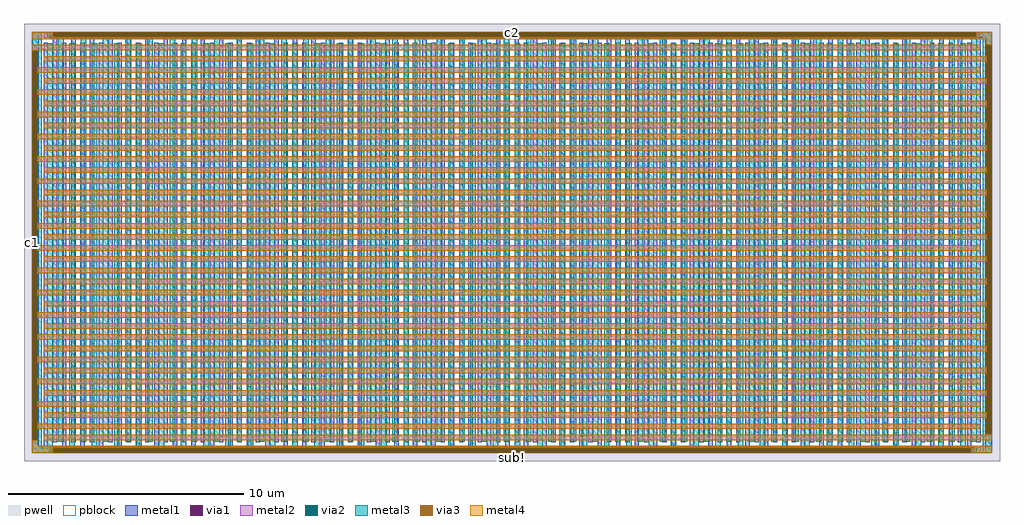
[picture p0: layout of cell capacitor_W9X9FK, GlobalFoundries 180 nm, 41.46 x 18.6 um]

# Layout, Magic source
magic
tech gf180mcuD
magscale 3 26
<< pwell >>
rect -62 3100 7125 3162
rect -62 0 0 3100
rect 7063 0 7125 3100
rect -62 -62 7125 0
<< pblock >>
rect 0 0 7063 3100
<< metal1 >>
rect 0 2965 46 3100
rect 82 3099 7063 3100
rect 82 3059 128 3099
rect 6976 3059 7063 3099
rect 82 3058 7063 3059
rect 0 95 1 2965
rect 41 95 46 2965
rect 0 42 46 95
rect 82 42 114 3022
rect 150 78 182 3058
rect 218 42 250 3022
rect 286 78 318 3058
rect 354 42 386 3022
rect 422 78 454 3058
rect 490 42 522 3022
rect 558 78 590 3058
rect 626 42 658 3022
rect 694 78 726 3058
rect 762 42 794 3022
rect 830 78 862 3058
rect 898 42 930 3022
rect 966 78 998 3058
rect 1034 42 1066 3022
rect 1102 78 1134 3058
rect 1170 42 1202 3022
rect 1238 78 1270 3058
rect 1306 42 1338 3022
rect 1374 78 1406 3058
rect 1442 42 1474 3022
rect 1510 78 1542 3058
rect 1578 42 1610 3022
rect 1646 78 1678 3058
rect 1714 42 1746 3022
rect 1782 78 1814 3058
rect 1850 42 1882 3022
rect 1918 78 1950 3058
rect 1986 42 2018 3022
rect 2054 78 2086 3058
rect 2122 42 2154 3022
rect 2190 78 2222 3058
rect 2258 42 2290 3022
rect 2326 78 2358 3058
rect 2394 42 2426 3022
rect 2462 78 2494 3058
rect 2530 42 2562 3022
rect 2598 78 2630 3058
rect 2666 42 2698 3022
rect 2734 78 2766 3058
rect 2802 42 2834 3022
rect 2870 78 2902 3058
rect 2938 42 2970 3022
rect 3006 78 3038 3058
rect 3074 42 3106 3022
rect 3142 78 3174 3058
rect 3210 42 3242 3022
rect 3278 78 3310 3058
rect 3346 42 3378 3022
rect 3414 78 3446 3058
rect 3482 42 3514 3022
rect 3550 78 3582 3058
rect 3618 42 3650 3022
rect 3686 78 3718 3058
rect 3754 42 3786 3022
rect 3822 78 3854 3058
rect 3890 42 3922 3022
rect 3958 78 3990 3058
rect 4026 42 4058 3022
rect 4094 78 4126 3058
rect 4162 42 4194 3022
rect 4230 78 4262 3058
rect 4298 42 4330 3022
rect 4366 78 4398 3058
rect 4434 42 4466 3022
rect 4502 78 4534 3058
rect 4570 42 4602 3022
rect 4638 78 4670 3058
rect 4706 42 4738 3022
rect 4774 78 4806 3058
rect 4842 42 4874 3022
rect 4910 78 4942 3058
rect 4978 42 5010 3022
rect 5046 78 5078 3058
rect 5114 42 5146 3022
rect 5182 78 5214 3058
rect 5250 42 5282 3022
rect 5318 78 5350 3058
rect 5386 42 5418 3022
rect 5454 78 5486 3058
rect 5522 42 5554 3022
rect 5590 78 5622 3058
rect 5658 42 5690 3022
rect 5726 78 5758 3058
rect 5794 42 5826 3022
rect 5862 78 5894 3058
rect 5930 42 5962 3022
rect 5998 78 6030 3058
rect 6066 42 6098 3022
rect 6134 78 6166 3058
rect 6202 42 6234 3022
rect 6270 78 6302 3058
rect 6338 42 6370 3022
rect 6406 78 6438 3058
rect 6474 42 6506 3022
rect 6542 78 6574 3058
rect 6610 42 6642 3022
rect 6678 78 6710 3058
rect 6746 42 6778 3022
rect 6814 78 6846 3058
rect 6882 42 6914 3022
rect 6950 78 6982 3058
rect 7018 3005 7063 3058
rect 7018 135 7022 3005
rect 7062 135 7063 3005
rect 0 41 6982 42
rect 0 1 128 41
rect 6936 1 6982 41
rect 0 0 6982 1
rect 7018 0 7063 135
<< via1 >>
rect 128 3059 6976 3099
rect 1 95 41 2965
rect 7022 135 7062 3005
rect 128 1 6936 41
<< metal2 >>
rect 0 3099 149 3100
rect 6955 3099 7063 3100
rect 0 3059 128 3099
rect 6976 3059 7063 3099
rect 0 3047 7063 3059
rect 7022 3005 7063 3047
rect 0 2965 6979 3005
rect 84 2883 7022 2923
rect 41 2801 6979 2841
rect 84 2719 7022 2759
rect 41 2637 6979 2677
rect 84 2555 7022 2595
rect 41 2473 6979 2513
rect 84 2391 7022 2431
rect 41 2309 6979 2349
rect 84 2227 7022 2267
rect 41 2145 6979 2185
rect 84 2063 7022 2103
rect 41 1981 6979 2021
rect 84 1899 7022 1939
rect 41 1817 6979 1857
rect 84 1735 7022 1775
rect 41 1653 6979 1693
rect 84 1571 7022 1611
rect 41 1489 6979 1529
rect 84 1407 7022 1447
rect 41 1325 6979 1365
rect 84 1243 7022 1283
rect 41 1161 6979 1201
rect 84 1079 7022 1119
rect 41 997 6979 1037
rect 84 915 7022 955
rect 41 833 6979 873
rect 84 751 7022 791
rect 41 669 6979 709
rect 84 587 7022 627
rect 41 505 6979 545
rect 84 423 7022 463
rect 41 341 6979 381
rect 84 259 7022 299
rect 41 177 6979 217
rect 84 95 7063 135
rect 0 53 41 95
rect 0 41 7063 53
rect 0 1 128 41
rect 6936 1 7063 41
rect 0 0 149 1
rect 6915 0 7063 1
<< via2 >>
rect 149 3099 6955 3100
rect 149 3060 6955 3099
rect 0 95 1 2965
rect 1 95 40 2965
rect 7023 135 7062 3005
rect 7062 135 7063 3005
rect 149 1 6915 40
rect 149 0 6915 1
<< metal3 >>
rect 0 2965 67 3100
rect 109 3060 149 3100
rect 6955 3060 7063 3100
rect 40 95 67 2965
rect 0 40 67 95
rect 109 40 149 3018
rect 191 82 231 3060
rect 273 40 313 3018
rect 355 82 395 3060
rect 437 40 477 3018
rect 519 82 559 3060
rect 601 40 641 3018
rect 683 82 723 3060
rect 765 40 805 3018
rect 847 82 887 3060
rect 929 40 969 3018
rect 1011 82 1051 3060
rect 1093 40 1133 3018
rect 1175 82 1215 3060
rect 1257 40 1297 3018
rect 1339 82 1379 3060
rect 1421 40 1461 3018
rect 1503 82 1543 3060
rect 1585 40 1625 3018
rect 1667 82 1707 3060
rect 1749 40 1789 3018
rect 1831 82 1871 3060
rect 1913 40 1953 3018
rect 1995 82 2035 3060
rect 2077 40 2117 3018
rect 2159 82 2199 3060
rect 2241 40 2281 3018
rect 2323 82 2363 3060
rect 2405 40 2445 3018
rect 2487 82 2527 3060
rect 2569 40 2609 3018
rect 2651 82 2691 3060
rect 2733 40 2773 3018
rect 2815 82 2855 3060
rect 2897 40 2937 3018
rect 2979 82 3019 3060
rect 3061 40 3101 3018
rect 3143 82 3183 3060
rect 3225 40 3265 3018
rect 3307 82 3347 3060
rect 3389 40 3429 3018
rect 3471 82 3511 3060
rect 3553 40 3593 3018
rect 3635 82 3675 3060
rect 3717 40 3757 3018
rect 3799 82 3839 3060
rect 3881 40 3921 3018
rect 3963 82 4003 3060
rect 4045 40 4085 3018
rect 4127 82 4167 3060
rect 4209 40 4249 3018
rect 4291 82 4331 3060
rect 4373 40 4413 3018
rect 4455 82 4495 3060
rect 4537 40 4577 3018
rect 4619 82 4659 3060
rect 4701 40 4741 3018
rect 4783 82 4823 3060
rect 4865 40 4905 3018
rect 4947 82 4987 3060
rect 5029 40 5069 3018
rect 5111 82 5151 3060
rect 5193 40 5233 3018
rect 5275 82 5315 3060
rect 5357 40 5397 3018
rect 5439 82 5479 3060
rect 5521 40 5561 3018
rect 5603 82 5643 3060
rect 5685 40 5725 3018
rect 5767 82 5807 3060
rect 5849 40 5889 3018
rect 5931 82 5971 3060
rect 6013 40 6053 3018
rect 6095 82 6135 3060
rect 6177 40 6217 3018
rect 6259 82 6299 3060
rect 6341 40 6381 3018
rect 6423 82 6463 3060
rect 6505 40 6545 3018
rect 6587 82 6627 3060
rect 6669 40 6709 3018
rect 6751 82 6791 3060
rect 6833 40 6873 3018
rect 6915 82 6955 3060
rect 6997 3005 7063 3060
rect 6997 135 7023 3005
rect 0 0 149 40
rect 6915 0 6955 40
rect 6997 0 7063 135
<< via3 >>
rect 149 3060 6955 3100
rect 0 95 40 2965
rect 7023 135 7063 3005
rect 149 0 6915 40
<< metal4 >>
rect 0 3060 149 3100
rect 6955 3060 7063 3100
rect 0 3047 7063 3060
rect 7023 3005 7063 3047
rect 0 2965 6981 3005
rect 82 2883 7023 2923
rect 40 2801 6981 2841
rect 82 2719 7023 2759
rect 40 2637 6981 2677
rect 82 2555 7023 2595
rect 40 2473 6981 2513
rect 82 2391 7023 2431
rect 40 2309 6981 2349
rect 82 2227 7023 2267
rect 40 2145 6981 2185
rect 82 2063 7023 2103
rect 40 1981 6981 2021
rect 82 1899 7023 1939
rect 40 1817 6981 1857
rect 82 1735 7023 1775
rect 40 1653 6981 1693
rect 82 1571 7023 1611
rect 40 1489 6981 1529
rect 82 1407 7023 1447
rect 40 1325 6981 1365
rect 82 1243 7023 1283
rect 40 1161 6981 1201
rect 82 1079 7023 1119
rect 40 997 6981 1037
rect 82 915 7023 955
rect 40 833 6981 873
rect 82 751 7023 791
rect 40 669 6981 709
rect 82 587 7023 627
rect 40 505 6981 545
rect 82 423 7023 463
rect 40 341 6981 381
rect 82 259 7023 299
rect 40 177 6981 217
rect 82 95 7063 135
rect 0 53 40 95
rect 0 40 7063 53
rect 0 0 149 40
rect 6915 0 7063 40
<< labels >>
rlabel pwell 3532 -31 3532 -31 0 sub!
port 1 nsew
rlabel via3 2 1550 2 1550 0 c1
port 2 nsew
rlabel via3 3532 3098 3532 3098 0 c2
port 3 nsew
<< properties >>
string device csubckt cap_cmomf 0 0 1 1 w=35.317u l=15.5u mmin=1 mmax=4 subblock=1 mm_ok=1 c1 0 0 c2 0 0
string FIXED_BBOX -62 -62 7125 3162
string gencell cap_cmomf
string library gf180mcu
string parameters w 35.317 l 15.5 value 9.28 class capacitor mmin 1 mmax 4 square 1 subblock 1 lmin 2.00 wmin 2.00 lmax 100.0 wmax 100.0 val 1270
<< end >>
